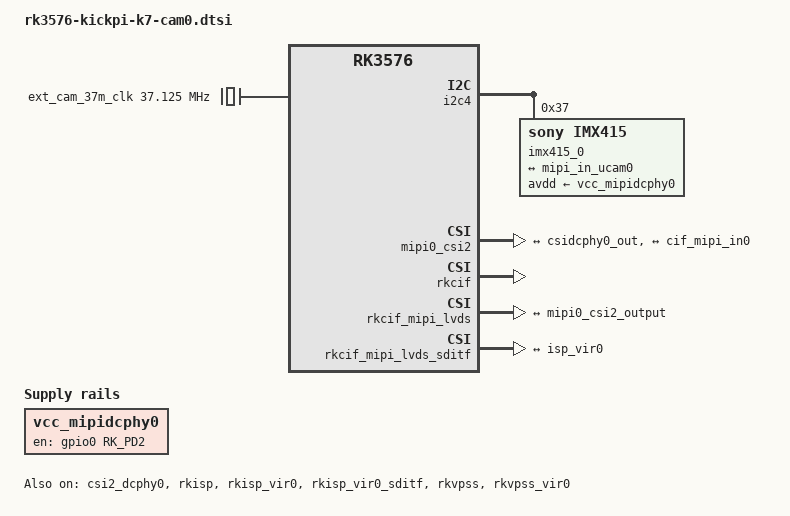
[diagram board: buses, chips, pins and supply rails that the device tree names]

/ {
	ext_cam_37m_clk: external-camera-37m-clock {
		compatible = "fixed-clock";
		clock-frequency = <37125000>;
		clock-output-names = "ext_cam_37m_clk";
		#clock-cells = <0>;
	};

	vcc_mipidcphy0: vcc-mipidcphy0-regulator {
		compatible = "regulator-fixed";
		gpio = <&gpio0 RK_PD2 GPIO_ACTIVE_HIGH>;
		pinctrl-names = "default";
		pinctrl-0 = <&mipidcphy0_pwr>;
		regulator-name = "vcc_mipidcphy0";
		enable-active-high;
        regulator-always-on;
		regulator-boot-on;
	};

};

&pinctrl {
	cam {
		mipidcphy0_pwr: mipidcphy0-pwr {
			rockchip,pins =
				/* camera power en */
				<0 RK_PD2 RK_FUNC_GPIO &pcfg_pull_none>;
		};
	};
};

&i2c4 {
	status = "okay";
	pinctrl-0 = <&i2c4m3_xfer>;

	imx415_0: imx415_0@37 {
		compatible = "sony,imx415";
		status = "okay";
		reg = <0x37>;
		clocks = <&ext_cam_37m_clk>;
		clock-names = "xvclk";
		power-domains = <&power RK3576_PD_VI>;
		avdd-supply = <&vcc_mipidcphy0>;
		rockchip,camera-module-index = <0>;
		rockchip,camera-module-facing = "back";
		rockchip,camera-module-name = "CMK-OT2022-PX1";
		rockchip,camera-module-lens-name = "IR0147-50IRC-8M-F20";

		port {
			imx415_out0: endpoint {
				remote-endpoint = <&mipi_in_ucam0>;
				data-lanes = <1 2 3 4>;
			};
		};
	};
};

&csi2_dcphy0 {
	status = "okay";

	ports {
		#address-cells = <1>;
		#size-cells = <0>;
		port@0 {
			reg = <0>;
			#address-cells = <1>;
			#size-cells = <0>;

			mipi_in_ucam0: endpoint@1 {
				reg = <1>;
				remote-endpoint = <&imx415_out0>;
				data-lanes = <1 2 3 4>;
			};

		};
		port@1 {
			reg = <1>;
			#address-cells = <1>;
			#size-cells = <0>;

			csidcphy0_out: endpoint@0 {
				reg = <0>;
				remote-endpoint = <&mipi0_csi2_input>;
			};
		};
	};
};

&mipi0_csi2 {
	status = "okay";

	ports {
		#address-cells = <1>;
		#size-cells = <0>;

		port@0 {
			reg = <0>;
			#address-cells = <1>;
			#size-cells = <0>;

			mipi0_csi2_input: endpoint@1 {
				reg = <1>;
				remote-endpoint = <&csidcphy0_out>;
			};
		};

		port@1 {
			reg = <1>;
			#address-cells = <1>;
			#size-cells = <0>;

			mipi0_csi2_output: endpoint@0 {
				reg = <0>;
				remote-endpoint = <&cif_mipi_in0>;
			};
		};
	};
};

&rkcif {
	status = "okay";
};

&rkcif_mipi_lvds {
	status = "okay";

	port {
		cif_mipi_in0: endpoint {
			remote-endpoint = <&mipi0_csi2_output>;
		};
	};
};

&rkcif_mipi_lvds_sditf {
	status = "okay";

	port {
		mipi_lvds_sditf: endpoint {
			remote-endpoint = <&isp_vir0>;
		};
	};
};

&rkcif_mmu {
	status = "okay";
};

&rkisp {
	status = "okay";
};

&rkisp_mmu {
	status = "okay";
};

&rkisp_vir0 {
	status = "okay";

	port {
		#address-cells = <1>;
		#size-cells = <0>;

		isp_vir0: endpoint@0 {
			reg = <0>;
			remote-endpoint = <&mipi_lvds_sditf>;
		};
	};
};

&rkisp_vir0_sditf {
	status = "okay";
};

&rkvpss {
	status = "okay";
};

&rkvpss_mmu {
	status = "okay";
};

&rkvpss_vir0 {
	status = "okay";
};
